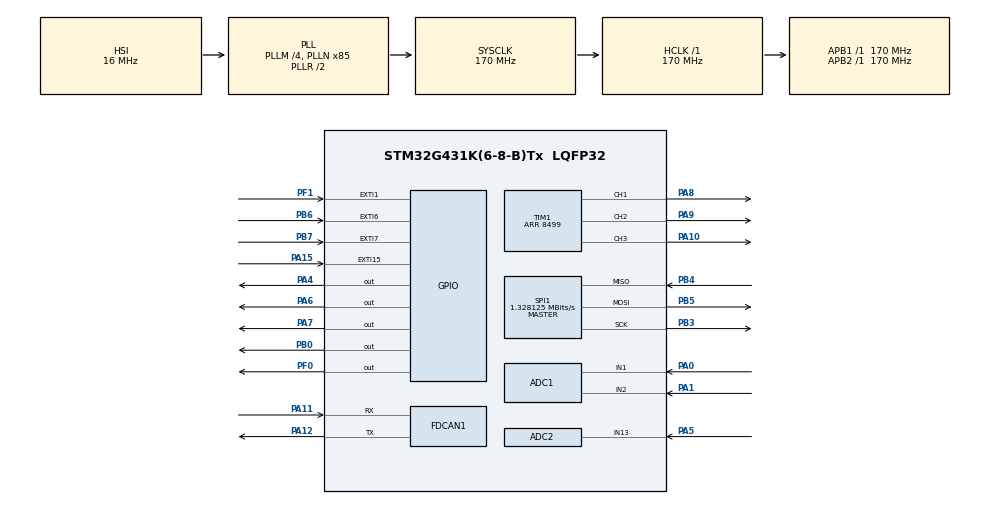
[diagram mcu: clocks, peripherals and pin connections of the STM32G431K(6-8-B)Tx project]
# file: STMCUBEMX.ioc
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ADC1.Channel-0\#ChannelRegularConversion=ADC_CHANNEL_1
ADC1.Channel-1\#ChannelRegularConversion=ADC_CHANNEL_2
ADC1.NbrOfConversion=2
ADC1.NbrOfConversionFlag=1
ADC1.OffsetNumber-0\#ChannelRegularConversion=ADC_OFFSET_NONE
ADC1.OffsetNumber-1\#ChannelRegularConversion=ADC_OFFSET_NONE
ADC1.Rank-0\#ChannelRegularConversion=1
ADC1.Rank-1\#ChannelRegularConversion=2
ADC1.SamplingTime-0\#ChannelRegularConversion=ADC_SAMPLETIME_2CYCLES_5
ADC1.SamplingTime-1\#ChannelRegularConversion=ADC_SAMPLETIME_2CYCLES_5
ADC1.master=1
ADC2.Channel-2\#ChannelRegularConversion=ADC_CHANNEL_13
ADC2.NbrOfConversionFlag=1
ADC2.OffsetNumber-2\#ChannelRegularConversion=ADC_OFFSET_NONE
ADC2.Rank-2\#ChannelRegularConversion=1
ADC2.SamplingTime-2\#ChannelRegularConversion=ADC_SAMPLETIME_92CYCLES_5
FDCAN1.CalculateBaudRateNominal=3541666
FDCAN1.CalculateTimeBitNominal=282
FDCAN1.CalculateTimeQuantumNominal=94.11764705882354
Mcu.Family=STM32G4
Mcu.Name=STM32G431K(6-8-B)Tx
Mcu.Package=LQFP32
NUCLEO-G431KB.LD2=true
NUCLEO-G431KB.VCP=true
NVIC.EXTI15_10_IRQn=true\:0\:0\:false\:false\:true\:true\:true\:true
NVIC.EXTI9_5_IRQn=true\:0\:0\:false\:false\:true\:true\:true\:true
NVIC.PriorityGroup=NVIC_PRIORITYGROUP_4
PA0.Mode=IN1-Single-Ended
PA0.Signal=ADC1_IN1
PA1.Mode=IN2-Single-Ended
PA1.Signal=ADC1_IN2
PA10.Signal=S_TIM1_CH3
PA11.Mode=FDCAN_Activate
PA11.Signal=FDCAN1_RX
PA12.Mode=FDCAN_Activate
PA12.Signal=FDCAN1_TX
PA13.GPIO_Label=T_SWDIO
PA13.Mode=Serial_Wire
PA13.Signal=SYS_JTMS-SWDIO
PA14.GPIO_Label=T_SWCLK
PA14.Mode=Serial_Wire
PA14.Signal=SYS_JTCK-SWCLK
PA15.GPIO_ModeDefaultEXTI=GPIO_MODE_IT_RISING_FALLING
PA15.Signal=GPXTI15
PA2.Signal=USART2_TX
PA3.Signal=USART2_RX
PA4.Signal=GPIO_Output
PA5.Mode=IN13-Single-Ended
PA5.Signal=ADC2_IN13
PA6.Signal=GPIO_Output
PA7.Signal=GPIO_Output
PA8.Signal=S_TIM1_CH1
PA9.Signal=S_TIM1_CH2
PB0.Signal=GPIO_Output
PB3.Mode=Full_Duplex_Master
PB3.Signal=SPI1_SCK
PB4.Mode=Full_Duplex_Master
PB4.Signal=SPI1_MISO
PB5.Mode=Full_Duplex_Master
PB5.Signal=SPI1_MOSI
PB6.GPIO_ModeDefaultEXTI=GPIO_MODE_IT_RISING_FALLING
PB6.Signal=GPXTI6
PB7.GPIO_ModeDefaultEXTI=GPIO_MODE_IT_RISING_FALLING
PB7.Signal=GPXTI7
PF0-OSC_IN.Signal=GPIO_Output
PF1-OSC_OUT.GPIO_ModeDefaultEXTI=GPIO_MODE_IT_FALLING
PF1-OSC_OUT.Signal=GPXTI1
ProjectManager.HeapSize=0x200
ProjectManager.StackSize=0x400
ProjectManager.TargetToolchain=STM32CubeIDE
RCC.ADC12Freq_Value=170000000
RCC.AHBFreq_Value=170000000
RCC.APB1Freq_Value=170000000
RCC.APB1TimFreq_Value=170000000
RCC.APB2Freq_Value=170000000
RCC.APB2TimFreq_Value=170000000
RCC.CortexFreq_Value=170000000
RCC.EXTERNAL_CLOCK_VALUE=12288000
RCC.HCLKFreq_Value=170000000
RCC.HSE_VALUE=8000000
RCC.HSI48_VALUE=48000000
RCC.HSI_VALUE=16000000
RCC.LSE_VALUE=32768
RCC.PLLM=RCC_PLLM_DIV4
RCC.PLLN=85
RCC.SYSCLKFreq_VALUE=170000000
RCC.SYSCLKSource=RCC_SYSCLKSOURCE_PLLCLK
RCC.USBFreq_Value=170000000
RCC.VCOOutputFreq_Value=340000000
SH.S_TIM1_CH1.0=TIM1_CH1,PWM Generation1 CH1
SH.S_TIM1_CH2.0=TIM1_CH2,PWM Generation2 CH2
SH.S_TIM1_CH3.0=TIM1_CH3,PWM Generation3 CH3
SPI1.BaudRatePrescaler=SPI_BAUDRATEPRESCALER_128
SPI1.CLKPhase=SPI_PHASE_2EDGE
SPI1.CalculateBaudRate=1.328125 MBits/s
SPI1.DataSize=SPI_DATASIZE_16BIT
SPI1.Direction=SPI_DIRECTION_2LINES
SPI1.Mode=SPI_MODE_MASTER
SPI1.VirtualType=VM_MASTER
TIM1.Channel-PWM\ Generation1\ CH1=TIM_CHANNEL_1
TIM1.Channel-PWM\ Generation2\ CH2=TIM_CHANNEL_2
TIM1.Channel-PWM\ Generation3\ CH3=TIM_CHANNEL_3
TIM1.PeriodNoDither=8499
TIM2.Prescaler=169
VP_NUCLEO-G431KB_VS_BSP_COMMON.Mode=COMMON
VP_SYS_VS_DBSignals.Mode=DisableDeadBatterySignals
VP_TIM1_VS_ClockSourceINT.Mode=Internal
VP_TIM2_VS_ClockSourceINT.Mode=Internal
board=NUCLEO-G431KB

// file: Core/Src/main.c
/* USER CODE BEGIN Header */
/**
  ******************************************************************************
  * @file           : main.c
  * @brief          : Main program body
  ******************************************************************************
  * @attention
  *
  * Copyright (c) 2026 STMicroelectronics.
  * All rights reserved.
  *
  * This software is licensed under terms that can be found in the LICENSE file
  * in the root directory of this software component.
  * If no LICENSE file comes with this software, it is provided AS-IS.
  *
  ******************************************************************************
  */
/* USER CODE END Header */
#include "main.h"

/* USER CODE BEGIN PD */
/* ===== Motor-control configuration ======================================= */
#define MOTOR_PWM_ARR              11332U      /* 170 MHz / (8499 + 1) = 20 kHz */
#define MOTOR_START_DUTY_PERCENT   0U

#define PEDAL_RAW_IDLE       4095U  // 3.036 V with a 3.3-V ADC reference
#define PEDAL_RAW_FULL        532U  // 0.429 V
#define PEDAL_DEADBAND_RAW     40U
#define PEDAL_MAX_DUTY         90U

/* DRV8353RS control pins */
#define DRV_NCS_PORT       GPIOA
#define DRV_NCS_PIN        GPIO_PIN_4
#define DRV_ENABLE_PORT    GPIOA
#define DRV_ENABLE_PIN     GPIO_PIN_6
#define DRV_NFAULT_PORT    GPIOF
#define DRV_NFAULT_PIN     GPIO_PIN_1

/* 3x-PWM inputs: INHx are TIM1 PWM outputs */
/* INHA = PA8 / TIM1_CH1
 * INHB = PA9 / TIM1_CH2
 * INHC = PA10 / TIM1_CH3
 */

/* 3x-PWM phase enables / Hi-Z controls: INLx MUST be GPIO outputs */
#define DRV_INLA_PORT      GPIOA
#define DRV_INLA_PIN       GPIO_PIN_7
#define DRV_INLB_PORT      GPIOB
#define DRV_INLB_PIN       GPIO_PIN_0
#define DRV_INLC_PORT      GPIOF
#define DRV_INLC_PIN       GPIO_PIN_0

#define PHASE_FLOAT   0U
#define PHASE_LOW     1U
#define PHASE_PWM     2U

/* Hall inputs */
#define HALL_H1_PORT       GPIOB
#define HALL_H1_PIN        GPIO_PIN_6
#define HALL_H2_PORT       GPIOA
#define HALL_H2_PIN        GPIO_PIN_15
#define HALL_H3_PORT       GPIOB
#define HALL_H3_PIN        GPIO_PIN_7

/* DRV8353 register addresses */
#define DRV_REG_FAULT1     0x00U
#define DRV_REG_VGS2       0x01U
#define DRV_REG_CTRL       0x02U
#define DRV_REG_GATE_HS    0x03U
#define DRV_REG_GATE_LS    0x04U

/* Driver Control register: PWM_MODE[6:5] = 01b => 3x PWM */
#define DRV_CTRL_3X_PWM    0x0020U
/* USER CODE END PD */

COM_InitTypeDef BspCOMInit;

ADC_HandleTypeDef hadc1;
ADC_HandleTypeDef hadc2;

FDCAN_HandleTypeDef hfdcan1;

SPI_HandleTypeDef hspi1;

TIM_HandleTypeDef htim1;
TIM_HandleTypeDef htim2;

/* USER CODE BEGIN PV */
volatile uint8_t  motor_enabled = 0U;
volatile uint8_t  motor_fault_latched = 0U;
volatile uint8_t  hall_state = 0U;
volatile uint8_t  drv_spi_ok = 0U;
volatile uint16_t drv_fault1 = 0U;
volatile uint16_t drv_fault2 = 0U;
volatile uint16_t drv_ctrl_readback = 0U;
volatile uint16_t drv_gate_hs_readback = 0U;
volatile uint16_t drv_gate_ls_readback = 0U;

volatile uint8_t phase_a_cmd = PHASE_FLOAT;
volatile uint8_t phase_b_cmd = PHASE_FLOAT;
volatile uint8_t phase_c_cmd = PHASE_FLOAT;

// For hall_state debugging
volatile uint32_t hall1_irq_count = 0;
volatile uint32_t hall2_irq_count = 0;
volatile uint32_t hall3_irq_count = 0;

volatile uint16_t last_exti_pin = 0;

volatile uint32_t adc1_raw = 0;
volatile uint32_t adc2_raw = 0;

#define CSA_AMPS_PER_COUNT  (3.3f / 4095.0f / (10.0f * 0.005f))
volatile float adc1_zero = 2048.0f;
volatile float adc2_zero = 2048.0f;
volatile float phase_a_amps = 0.0f;
volatile float phase_b_amps = 0.0f;
volatile float motor_amps = 0.0f;
volatile float input_amps = 0.0f;

volatile float adc1_voltage = 0.0f;
volatile float adc2_voltage = 0.0f;

volatile uint32_t adc1_min = 4095;
volatile uint32_t adc1_max = 0;
volatile uint32_t adc2_min = 4095;
volatile uint32_t adc2_max = 0;

static uint32_t motor_pwm_compare = 0U;

// For CAN bus RPM data
#define MOTOR_POLE_PAIRS       23U
#define HALL_EDGES_PER_REV     (6U * MOTOR_POLE_PAIRS)  // 138

volatile uint32_t hall_period_us = 0;
volatile uint32_t last_hall_time_us = 0;
volatile uint32_t last_hall_tick_ms = 0;

volatile uint32_t pedal_raw = 0U;
volatile float pedal_voltage = 0.0f;
volatile uint8_t pedal_duty = 0U;

/* 0 = none, 1 = driver nFAULT, 2 = pedal out of range */
volatile uint8_t stop_reason = 0U;
/* USER CODE END PV */

void SystemClock_Config(void);
static void MX_GPIO_Init(void);
static void MX_ADC1_Init(void);
static void MX_ADC2_Init(void);
static void MX_FDCAN1_Init(void);
static void MX_TIM1_Init(void);
static void MX_SPI1_Init(void);
static void MX_TIM2_Init(void);
/* USER CODE BEGIN PFP */

static uint16_t Motor_GetRPM(void);
static HAL_StatusTypeDef CAN_SendRPM(uint16_t rpm);
static void Motor_UpdateThrottle(uint8_t duty_percent);
static void MotorControl_ConfigureLowSideGPIO(void);
static void Motor_AllOff(void);
static uint8_t Motor_ReadHallState(void);
static void Motor_SetDutyPercent(uint8_t duty_percent);
static void Motor_Commutate(uint8_t hall);
static void Motor_Start(void);
static void Motor_Stop(void);

volatile uint16_t drv_pre_ctrl = 0;
volatile uint16_t drv_pre_hs   = 0;
volatile uint16_t drv_pre_ls   = 0;

volatile uint8_t hall_debug = 0U;

static uint16_t DRV8353_Transfer16(uint16_t tx_word);
static void DRV8353_WriteReg(uint8_t address, uint16_t data);
static uint16_t DRV8353_ReadReg(uint8_t address);
static uint8_t DRV8353_Init3xPWM(void);
/* USER CODE END PFP */

/* USER CODE BEGIN 0 */
/* ------------------------------------------------------------------------- */
/* DRV8353 SPI helpers                                                       */
/* ------------------------------------------------------------------------- */

static void Motor_UpdateThrottle(uint8_t duty_percent)
{
    Motor_SetDutyPercent(duty_percent);

    /* Immediately update whichever phase is currently PWM-driven. */
    if (motor_enabled != 0U)
    {
        if (phase_a_cmd == PHASE_PWM)
        {
            __HAL_TIM_SET_COMPARE(&htim1, TIM_CHANNEL_1, motor_pwm_compare);
        }

        if (phase_b_cmd == PHASE_PWM)
        {
            __HAL_TIM_SET_COMPARE(&htim1, TIM_CHANNEL_2, motor_pwm_compare);
        }

        if (phase_c_cmd == PHASE_PWM)
        {
            __HAL_TIM_SET_COMPARE(&htim1, TIM_CHANNEL_3, motor_pwm_compare);
        }
    }
}

static uint8_t Pedal_ToDuty(uint16_t raw)
{
    const uint32_t active_start = PEDAL_RAW_IDLE - PEDAL_DEADBAND_RAW;
    const uint32_t span = active_start - PEDAL_RAW_FULL;

    /* Pedal voltage falls as it is pressed. */
    if (raw >= active_start)
    {
        return 0U;
    }

    if (raw <= PEDAL_RAW_FULL)
    {
        return PEDAL_MAX_DUTY;
    }

    return (uint8_t)(((active_start - raw) * PEDAL_MAX_DUTY + (span / 2U)) / span);
}

static void DRV8353_CS_HighDelay(void)
{
    /* DRV8353 requires nSCS high for at least 400 ns between words.
       At 170 MHz this loop is comfortably longer than that. */
    for (volatile uint32_t i = 0U; i < 100U; i++)
    {
        __NOP();
    }
}

static uint16_t DRV8353_Transfer16(uint16_t tx_word)
{
    uint16_t rx_word = 0U;

    HAL_GPIO_WritePin(DRV_NCS_PORT, DRV_NCS_PIN, GPIO_PIN_RESET);

    if (HAL_SPI_TransmitReceive(&hspi1,
                                (uint8_t *)&tx_word,
                                (uint8_t *)&rx_word,
                                1U,
                                100U) != HAL_OK)
    {
        HAL_GPIO_WritePin(DRV_NCS_PORT, DRV_NCS_PIN, GPIO_PIN_SET);
        return 0xFFFFU;
    }

    HAL_GPIO_WritePin(DRV_NCS_PORT, DRV_NCS_PIN, GPIO_PIN_SET);
    DRV8353_CS_HighDelay();

    return rx_word;
}

static void DRV8353_WriteReg(uint8_t address, uint16_t data)
{
    /* B15 = 0 (write), B14:B11 = address, B10:B0 = data */
    uint16_t word = (((uint16_t)address & 0x0FU) << 11) |
                    (data & 0x07FFU);
    (void)DRV8353_Transfer16(word);
}

static uint16_t DRV8353_ReadReg(uint8_t address)
{
    /* B15 = 1 (read), B14:B11 = address */
    uint16_t word = 0x8000U |
                    (((uint16_t)address & 0x0FU) << 11);
    return DRV8353_Transfer16(word) & 0x07FFU;
}

/* ------------------------------------------------------------------------- */
/* Motor phase / Hall helpers                                                */
/* ------------------------------------------------------------------------- */

static void MotorControl_ConfigureLowSideGPIO(void)
{
    /* Defensive runtime configuration.
       In CubeMX, PA7/PB0/PF0 should ALSO be configured as GPIO_Output,
       not TIM1_CH1N/CH2N/CH3N. */
    GPIO_InitTypeDef gpio = {0};

    gpio.Mode = GPIO_MODE_OUTPUT_PP;
    gpio.Pull = GPIO_NOPULL;
    gpio.Speed = GPIO_SPEED_FREQ_LOW;

    gpio.Pin = DRV_INLA_PIN;
    HAL_GPIO_Init(DRV_INLA_PORT, &gpio);

    gpio.Pin = DRV_INLB_PIN;
    HAL_GPIO_Init(DRV_INLB_PORT, &gpio);

    gpio.Pin = DRV_INLC_PIN;
    HAL_GPIO_Init(DRV_INLC_PORT, &gpio);

    HAL_GPIO_WritePin(DRV_INLA_PORT, DRV_INLA_PIN, GPIO_PIN_RESET);
    HAL_GPIO_WritePin(DRV_INLB_PORT, DRV_INLB_PIN, GPIO_PIN_RESET);
    HAL_GPIO_WritePin(DRV_INLC_PORT, DRV_INLC_PIN, GPIO_PIN_RESET);
}

static void Motor_AllOff(void)
{
    /* INLx = 0 forces that half-bridge to Hi-Z in DRV8353 3x-PWM mode. */
    __HAL_TIM_SET_COMPARE(&htim1, TIM_CHANNEL_1, 0U);
    __HAL_TIM_SET_COMPARE(&htim1, TIM_CHANNEL_2, 0U);
    __HAL_TIM_SET_COMPARE(&htim1, TIM_CHANNEL_3, 0U);

    HAL_GPIO_WritePin(DRV_INLA_PORT, DRV_INLA_PIN, GPIO_PIN_RESET);
    HAL_GPIO_WritePin(DRV_INLB_PORT, DRV_INLB_PIN, GPIO_PIN_RESET);
    HAL_GPIO_WritePin(DRV_INLC_PORT, DRV_INLC_PIN, GPIO_PIN_RESET);

    phase_a_cmd = PHASE_FLOAT;
    phase_b_cmd = PHASE_FLOAT;
    phase_c_cmd = PHASE_FLOAT;

}

static uint8_t Motor_ReadHallState(void)
{
    uint8_t h1 = (HAL_GPIO_ReadPin(HALL_H1_PORT, HALL_H1_PIN) == GPIO_PIN_SET) ? 1U : 0U;
    uint8_t h2 = (HAL_GPIO_ReadPin(HALL_H2_PORT, HALL_H2_PIN) == GPIO_PIN_SET) ? 1U : 0U;
    uint8_t h3 = (HAL_GPIO_ReadPin(HALL_H3_PORT, HALL_H3_PIN) == GPIO_PIN_SET) ? 1U : 0U;

    return (uint8_t)((h1 << 2) | (h2 << 1) | h3);
}

static void Motor_SetDutyPercent(uint8_t duty_percent)
{
    if (duty_percent > 100U)
    {
        duty_percent = 100U;
    }

    /* Use actual TIM1 ARR so this stays correct if ARR is later changed. */
    uint32_t arr = __HAL_TIM_GET_AUTORELOAD(&htim1);
    motor_pwm_compare = ((arr + 1U) * (uint32_t)duty_percent) / 100U;

    if (motor_pwm_compare > arr)
    {
        motor_pwm_compare = arr;
    }
}

static uint16_t Motor_GetRPM(void)
{
    uint32_t period_us;
    uint32_t last_edge_ms;

    /*
     * Copy interrupt-controlled variables into local variables.
     * Prevents the interrupt from changing them while being read.
     */
    uint32_t interrupt_state = __get_PRIMASK();
    __disable_irq();

    period_us = hall_period_us;
    last_edge_ms = last_hall_tick_ms;

    if (!interrupt_state)
    {
        __enable_irq();
    }

    /* No valid reading yet or motor has stopped. */
    if (period_us == 0U ||
        (HAL_GetTick() - last_edge_ms) > 500U)
    {
        return 0U;
    }

    /*
     * RPM = 60,000,000 /
     *       (138 Hall edges/revolution × period in microseconds)
     */
    uint32_t rpm =
        60000000UL /
        (HALL_EDGES_PER_REV * period_us);

    if (rpm > 65535U)
    {
        rpm = 65535U;
    }

    return (uint16_t)rpm;
}

static HAL_StatusTypeDef CAN_SendRPM(uint16_t rpm)
{
    FDCAN_TxHeaderTypeDef header = {0};
    uint8_t data[8] = {0};

    header.Identifier           = 0x203;
    header.IdType              = FDCAN_STANDARD_ID;
    header.TxFrameType         = FDCAN_DATA_FRAME;
    header.DataLength          = FDCAN_DLC_BYTES_2;
    header.ErrorStateIndicator = FDCAN_ESI_ACTIVE;
    header.BitRateSwitch       = FDCAN_BRS_OFF;
    header.FDFormat            = FDCAN_CLASSIC_CAN;
    header.TxEventFifoControl  = FDCAN_NO_TX_EVENTS;
    header.MessageMarker       = 0;

    /* Send RPM as an unsigned 16-bit big-endian value. */
    data[0] = (uint8_t)(rpm >> 8);
    data[1] = (uint8_t)(rpm & 0xFFU);

    if (HAL_FDCAN_GetTxFifoFreeLevel(&hfdcan1) == 0U)
    {
        return HAL_BUSY;
    }

    return HAL_FDCAN_AddMessageToTxFifoQ(
        &hfdcan1,
        &header,
        data
    );

}

/* Hall order seen turning the wheel forward */
static const uint8_t hall_seq[6] = {6U, 4U, 5U, 1U, 3U, 2U};
volatile uint8_t comm_offset = 1U;   /* try 0 to 5 */

static void Motor_Commutate(uint8_t hall)
{
    if ((motor_enabled == 0U) || (motor_fault_latched != 0U))
    {
        Motor_AllOff();
        return;
    }

    hall_state = hall;

    /* Break-before-make: first float all three phases. */
    Motor_AllOff();

    /* Find this Hall value's position, then apply the offset. */
    uint8_t step = 0xFFU;
    for (uint8_t i = 0U; i < 6U; i++)
    {
        if (hall_seq[i] == hall)
        {
            step = (uint8_t)((i + comm_offset) % 6U);
            break;
        }
    }

    switch (step)
    {
    case 0U: /* A+ / B- / C float */
        __HAL_TIM_SET_COMPARE(&htim1, TIM_CHANNEL_1, motor_pwm_compare);
        HAL_GPIO_WritePin(DRV_INLA_PORT, DRV_INLA_PIN, GPIO_PIN_SET);
        HAL_GPIO_WritePin(DRV_INLB_PORT, DRV_INLB_PIN, GPIO_PIN_SET);
        phase_a_cmd = PHASE_PWM;
        phase_b_cmd = PHASE_LOW;
        phase_c_cmd = PHASE_FLOAT;
        break;

    case 1U: /* A+ / C- / B float */
        __HAL_TIM_SET_COMPARE(&htim1, TIM_CHANNEL_1, motor_pwm_compare);
        HAL_GPIO_WritePin(DRV_INLA_PORT, DRV_INLA_PIN, GPIO_PIN_SET);
        HAL_GPIO_WritePin(DRV_INLC_PORT, DRV_INLC_PIN, GPIO_PIN_SET);
        phase_a_cmd = PHASE_PWM;
        phase_b_cmd = PHASE_FLOAT;
        phase_c_cmd = PHASE_LOW;
        break;

    case 2U: /* B+ / C- / A float */
        __HAL_TIM_SET_COMPARE(&htim1, TIM_CHANNEL_2, motor_pwm_compare);
        HAL_GPIO_WritePin(DRV_INLB_PORT, DRV_INLB_PIN, GPIO_PIN_SET);
        HAL_GPIO_WritePin(DRV_INLC_PORT, DRV_INLC_PIN, GPIO_PIN_SET);
        phase_a_cmd = PHASE_FLOAT;
        phase_b_cmd = PHASE_PWM;
        phase_c_cmd = PHASE_LOW;
        break;

    case 3U: /* B+ / A- / C float */
        __HAL_TIM_SET_COMPARE(&htim1, TIM_CHANNEL_2, motor_pwm_compare);
        HAL_GPIO_WritePin(DRV_INLA_PORT, DRV_INLA_PIN, GPIO_PIN_SET);
        HAL_GPIO_WritePin(DRV_INLB_PORT, DRV_INLB_PIN, GPIO_PIN_SET);
        phase_a_cmd = PHASE_LOW;
        phase_b_cmd = PHASE_PWM;
        phase_c_cmd = PHASE_FLOAT;
        break;

    case 4U: /* C+ / A- / B float */
        __HAL_TIM_SET_COMPARE(&htim1, TIM_CHANNEL_3, motor_pwm_compare);
        HAL_GPIO_WritePin(DRV_INLA_PORT, DRV_INLA_PIN, GPIO_PIN_SET);
        HAL_GPIO_WritePin(DRV_INLC_PORT, DRV_INLC_PIN, GPIO_PIN_SET);
        phase_a_cmd = PHASE_LOW;
        phase_b_cmd = PHASE_FLOAT;
        phase_c_cmd = PHASE_PWM;
        break;

    case 5U: /* C+ / B- / A float */
        __HAL_TIM_SET_COMPARE(&htim1, TIM_CHANNEL_3, motor_pwm_compare);
        HAL_GPIO_WritePin(DRV_INLB_PORT, DRV_INLB_PIN, GPIO_PIN_SET);
        HAL_GPIO_WritePin(DRV_INLC_PORT, DRV_INLC_PIN, GPIO_PIN_SET);
        phase_a_cmd = PHASE_FLOAT;
        phase_b_cmd = PHASE_LOW;
        phase_c_cmd = PHASE_PWM;
        break;

    default: /* 000 or 111 */
        Motor_AllOff();
        break;
    }
}

/* ------------------------------------------------------------------------- */
/* DRV8353 and motor startup                                                 */
/* ------------------------------------------------------------------------- */

static uint8_t DRV8353_Init3xPWM(void)
{
    Motor_AllOff();

    /* SPI chip-select must idle high. Keep driver asleep while establishing
       safe MCU output states. */
    HAL_GPIO_WritePin(DRV_NCS_PORT, DRV_NCS_PIN, GPIO_PIN_SET);
    HAL_GPIO_WritePin(DRV_ENABLE_PORT, DRV_ENABLE_PIN, GPIO_PIN_RESET);
    HAL_Delay(2U);

    /* Wake DRV8353. Datasheet specifies SPI ready within 1 ms after ENABLE. */
    HAL_GPIO_WritePin(DRV_ENABLE_PORT, DRV_ENABLE_PIN, GPIO_PIN_SET);
    HAL_Delay(5U);

    /* READ DEFAULT REGISTERS BEFORE WRITING ANYTHING */
    drv_pre_ctrl = DRV8353_ReadReg(DRV_REG_CTRL);
    drv_pre_hs   = DRV8353_ReadReg(DRV_REG_GATE_HS);
    drv_pre_ls   = DRV8353_ReadReg(DRV_REG_GATE_LS);

    HAL_GPIO_WritePin(DRV_ENABLE_PORT, DRV_ENABLE_PIN, GPIO_PIN_SET);
    HAL_Delay(5U);

    /* Configure moderate gate-drive current for initial bring-up:
       150 mA source / 300 mA sink. These values MUST ultimately be tuned for
       your MOSFET gate charge, gate resistance, bus voltage, and switching
       behavior on an oscilloscope.

       Reg 0x03: LOCK=011 (unlocked), IDRIVEP_HS=0011, IDRIVEN_HS=0011
       Reg 0x04: CBC=1, TDRIVE=11 (4 us), IDRIVEP_LS=0011, IDRIVEN_LS=0011
    */
    DRV8353_WriteReg(DRV_REG_GATE_HS, 0x0300U);
    DRV8353_WriteReg(DRV_REG_GATE_LS, 0x0700U);

    /* Reg 0x02: PWM_MODE[6:5] = 01b => 3x PWM. */
    DRV8353_WriteReg(DRV_REG_CTRL, DRV_CTRL_3X_PWM);
    DRV8353_WriteReg(0x06U, 0x0243U);

    /* Verify SPI communication and the selected PWM mode. */
    drv_ctrl_readback    = DRV8353_ReadReg(DRV_REG_CTRL);
    drv_gate_hs_readback = DRV8353_ReadReg(DRV_REG_GATE_HS);
    drv_gate_ls_readback = DRV8353_ReadReg(DRV_REG_GATE_LS);

    if ((drv_ctrl_readback & 0x0060U) != DRV_CTRL_3X_PWM)
    {
        drv_spi_ok = 0U;
        Motor_AllOff();
        return 0U;
    }

    drv_spi_ok = 1U;
    return 1U;
}

static void Motor_Start(void)
{
    if ((drv_spi_ok == 0U) ||
        (HAL_GPIO_ReadPin(DRV_NFAULT_PORT, DRV_NFAULT_PIN) == GPIO_PIN_RESET))
    {
        motor_enabled = 0U;
        Motor_AllOff();
        return;
    }

    Motor_SetDutyPercent(MOTOR_START_DUTY_PERCENT);

    /* Start only TIM1 CH1/CH2/CH3. In 3x-PWM mode CH1N/CH2N/CH3N are NOT used. */
    if (HAL_TIM_PWM_Start(&htim1, TIM_CHANNEL_1) != HAL_OK) Error_Handler();
    if (HAL_TIM_PWM_Start(&htim1, TIM_CHANNEL_2) != HAL_OK) Error_Handler();
    if (HAL_TIM_PWM_Start(&htim1, TIM_CHANNEL_3) != HAL_OK) Error_Handler();

    motor_fault_latched = 0U;
    motor_enabled = 1U;

    /* Critical startup step: commutate immediately from the PRESENT Hall state.
       Do not wait for the first Hall edge, because the rotor is stationary. */
    Motor_Commutate(Motor_ReadHallState());
}

static void Motor_Stop(void)
{
    motor_enabled = 0U;
    Motor_AllOff();
}

volatile uint8_t phase_test = 0U;   /* 0 = off, 1 to 6 = test */

static void Phase_TestRun(void)
{
    static uint8_t last = 0U;
    if (phase_test == last) return;
    last = phase_test;

    motor_enabled = 0U;
    Motor_AllOff();
    uint32_t full = __HAL_TIM_GET_AUTORELOAD(&htim1) + 1U;

    switch (phase_test)
    {
    case 1U: __HAL_TIM_SET_COMPARE(&htim1, TIM_CHANNEL_1, full); /* fall through */
    case 2U: HAL_GPIO_WritePin(DRV_INLA_PORT, DRV_INLA_PIN, GPIO_PIN_SET); break;
    case 3U: __HAL_TIM_SET_COMPARE(&htim1, TIM_CHANNEL_2, full); /* fall through */
    case 4U: HAL_GPIO_WritePin(DRV_INLB_PORT, DRV_INLB_PIN, GPIO_PIN_SET); break;
    case 5U: __HAL_TIM_SET_COMPARE(&htim1, TIM_CHANNEL_3, full); /* fall through */
    case 6U: HAL_GPIO_WritePin(DRV_INLC_PORT, DRV_INLC_PIN, GPIO_PIN_SET); break;
    default: break;
    }
}

static void CSA_Calibrate(void)
{
    uint32_t a = 0U, b = 0U;
    for (uint16_t i = 0U; i < 256U; i++)
    {
        HAL_Delay(1U);
        a += HAL_ADCEx_InjectedGetValue(&hadc1, ADC_INJECTED_RANK_1);
        b += HAL_ADCEx_InjectedGetValue(&hadc1, ADC_INJECTED_RANK_2);
    }
    adc1_zero = (float)a / 256.0f;
    adc2_zero = (float)b / 256.0f;
}

/* USER CODE END 0 */

int main(void)
{

  /* MCU Configuration--------------------------------------------------------*/

  /* Reset of all peripherals, Initializes the Flash interface and the Systick. */
  HAL_Init();

  /* Configure the system clock */
  SystemClock_Config();

  /* Initialize all configured peripherals */
  MX_GPIO_Init();
  MX_ADC1_Init();
  MX_ADC2_Init();
  MX_FDCAN1_Init();
  MX_TIM1_Init();
  MX_SPI1_Init();
  MX_TIM2_Init();

  /* USER CODE BEGIN 2 */

  if (HAL_TIM_Base_Start(&htim2) != HAL_OK)
  {
      Error_Handler();
  }

  if (HAL_FDCAN_Start(&hfdcan1) != HAL_OK)
  {
      Error_Handler();
  }
/* The CubeMX screenshot still assigns PA7/PB0/PF0 as TIM1_CHxN.
     For 3x PWM they should be GPIO outputs. This runtime override keeps them
     correct, but also fix the .ioc so future code generation matches. */
  MotorControl_ConfigureLowSideGPIO();

  /* Put nSCS in its inactive state before waking the driver. */
  HAL_GPIO_WritePin(DRV_NCS_PORT, DRV_NCS_PIN, GPIO_PIN_SET);

  HAL_ADCEx_Calibration_Start(&hadc1, ADC_SINGLE_ENDED);
  HAL_ADCEx_InjectedStart(&hadc1);
  HAL_TIM_Base_Start(&htim1);

  if (DRV8353_Init3xPWM() != 0U)
  {
      CSA_Calibrate();
      Motor_Start();
  }
  else
  {
      Motor_Stop();
  }
  /* USER CODE END 2 */

  /* Initialize leds */
  BSP_LED_Init(LED_GREEN);

  /* Initialize COM1 port (115200, 8 bits (7-bit data + 1 stop bit), no parity */
  BspCOMInit.BaudRate   = 115200;
  BspCOMInit.WordLength = COM_WORDLENGTH_8B;
  BspCOMInit.StopBits   = COM_STOPBITS_1;
  BspCOMInit.Parity     = COM_PARITY_NONE;
  BspCOMInit.HwFlowCtl  = COM_HWCONTROL_NONE;
  if (BSP_COM_Init(COM1, &BspCOMInit) != BSP_ERROR_NONE)
  {
    Error_Handler();
  }

  uint32_t last_rpm_tx_ms = 0U;

  /* Infinite loop */
  while (1)
  {

    /* USER CODE BEGIN 3 */
/* Safety backup: poll nFAULT in case EXTI1 is not enabled yet. */

	  Phase_TestRun();

	  if ((HAL_GetTick() - last_rpm_tx_ms) >= 20U)
	  {
	      last_rpm_tx_ms = HAL_GetTick();

	      uint16_t rpm = Motor_GetRPM();
	      (void)CAN_SendRPM(rpm);
	  }

	  hall_debug = Motor_ReadHallState();

    if ((HAL_GPIO_ReadPin(DRV_NFAULT_PORT, DRV_NFAULT_PIN) == GPIO_PIN_RESET) &&
        (motor_fault_latched == 0U))
    {
        stop_reason = 1U;
        motor_fault_latched = 1U;
        Motor_Stop();

        /* Capture the fault registers for inspection in the debugger. */
        drv_fault1 = DRV8353_ReadReg(DRV_REG_FAULT1);
        drv_fault2 = DRV8353_ReadReg(DRV_REG_VGS2);
    }

	  if ((motor_enabled != 0U) &&
	      (motor_fault_latched == 0U) &&
	      (hall_debug >= 1U) &&
	      (hall_debug <= 6U) &&
	      (phase_a_cmd == PHASE_FLOAT) &&
	      (phase_b_cmd == PHASE_FLOAT) &&
	      (phase_c_cmd == PHASE_FLOAT))
	  {
	      Motor_Commutate(hall_debug);
	  }

	    /* Latest off-time samples, taken automatically by TIM1 */
	    adc1_raw = HAL_ADCEx_InjectedGetValue(&hadc1, ADC_INJECTED_RANK_1);
	    adc2_raw = HAL_ADCEx_InjectedGetValue(&hadc1, ADC_INJECTED_RANK_2);
	    phase_a_amps = ((float)adc1_raw - adc1_zero) * CSA_AMPS_PER_COUNT;
	    phase_b_amps = ((float)adc2_raw - adc2_zero) * CSA_AMPS_PER_COUNT;

	    /* Source phase reads negative, sink reads positive while motoring */
	    if (phase_a_cmd != PHASE_FLOAT)
	        motor_amps = (phase_a_cmd == PHASE_PWM) ? -phase_a_amps : phase_a_amps;
	    else
	        motor_amps = (phase_b_cmd == PHASE_PWM) ? -phase_b_amps : phase_b_amps;

	    input_amps = motor_amps * ((float)pedal_duty / 100.0f);

    adc1_voltage = ((float)adc1_raw * 3.3f) / 4095.0f;
    adc2_voltage = ((float)adc2_raw * 3.3f) / 4095.0f;

    if (adc1_raw < adc1_min)
        adc1_min = adc1_raw;

    if (adc1_raw > adc1_max)
        adc1_max = adc1_raw;

    if (adc2_raw < adc2_min)
        adc2_min = adc2_raw;

    if (adc2_raw > adc2_max)
        adc2_max = adc2_raw;
    HAL_ADC_Start(&hadc2);

    if (HAL_ADC_PollForConversion(&hadc2, 10U) == HAL_OK)
    {
        pedal_raw = HAL_ADC_GetValue(&hadc2);
        pedal_voltage = ((float)pedal_raw * 3.3f) / 4095.0f;
        pedal_duty = Pedal_ToDuty((uint16_t)pedal_raw);

        if ((pedal_raw < 350U) || (pedal_raw > 4095U))
        {
            stop_reason = 2U;
            motor_fault_latched = 1U;
            Motor_Stop();
        }
        else
        {
            Motor_UpdateThrottle(pedal_duty);
        }
    }

    HAL_ADC_Stop(&hadc2);

    HAL_Delay(10);
  }
  /* USER CODE END 3 */
}

void SystemClock_Config(void)
{
  RCC_OscInitTypeDef RCC_OscInitStruct = {0};
  RCC_ClkInitTypeDef RCC_ClkInitStruct = {0};

  /** Configure the main internal regulator output voltage
  */
  HAL_PWREx_ControlVoltageScaling(PWR_REGULATOR_VOLTAGE_SCALE1_BOOST);

  /** Initializes the RCC Oscillators according to the specified parameters
  * in the RCC_OscInitTypeDef structure.
  */
  RCC_OscInitStruct.OscillatorType = RCC_OSCILLATORTYPE_HSI;
  RCC_OscInitStruct.HSIState = RCC_HSI_ON;
  RCC_OscInitStruct.HSICalibrationValue = RCC_HSICALIBRATION_DEFAULT;
  RCC_OscInitStruct.PLL.PLLState = RCC_PLL_ON;
  RCC_OscInitStruct.PLL.PLLSource = RCC_PLLSOURCE_HSI;
  RCC_OscInitStruct.PLL.PLLM = RCC_PLLM_DIV4;
  RCC_OscInitStruct.PLL.PLLN = 85;
  RCC_OscInitStruct.PLL.PLLP = RCC_PLLP_DIV2;
  RCC_OscInitStruct.PLL.PLLQ = RCC_PLLQ_DIV2;
  RCC_OscInitStruct.PLL.PLLR = RCC_PLLR_DIV2;
  if (HAL_RCC_OscConfig(&RCC_OscInitStruct) != HAL_OK)
  {
    Error_Handler();
  }

  /** Initializes the CPU, AHB and APB buses clocks
  */
  RCC_ClkInitStruct.ClockType = RCC_CLOCKTYPE_HCLK|RCC_CLOCKTYPE_SYSCLK
                              |RCC_CLOCKTYPE_PCLK1|RCC_CLOCKTYPE_PCLK2;
  RCC_ClkInitStruct.SYSCLKSource = RCC_SYSCLKSOURCE_PLLCLK;
  RCC_ClkInitStruct.AHBCLKDivider = RCC_SYSCLK_DIV1;
  RCC_ClkInitStruct.APB1CLKDivider = RCC_HCLK_DIV1;
  RCC_ClkInitStruct.APB2CLKDivider = RCC_HCLK_DIV1;

  if (HAL_RCC_ClockConfig(&RCC_ClkInitStruct, FLASH_LATENCY_4) != HAL_OK)
  {
    Error_Handler();
  }
}

static void MX_ADC1_Init(void)
{

  ADC_MultiModeTypeDef multimode = {0};
  ADC_ChannelConfTypeDef sConfig = {0};

  /** Common config
  */
  hadc1.Instance = ADC1;
  hadc1.Init.ClockPrescaler = ADC_CLOCK_SYNC_PCLK_DIV4;
  hadc1.Init.Resolution = ADC_RESOLUTION_12B;
  hadc1.Init.DataAlign = ADC_DATAALIGN_RIGHT;
  hadc1.Init.GainCompensation = 0;
  hadc1.Init.ScanConvMode = ADC_SCAN_ENABLE;
  hadc1.Init.EOCSelection = ADC_EOC_SINGLE_CONV;
  hadc1.Init.LowPowerAutoWait = DISABLE;
  hadc1.Init.ContinuousConvMode = DISABLE;
  hadc1.Init.NbrOfConversion = 2;
  hadc1.Init.DiscontinuousConvMode = DISABLE;
  hadc1.Init.ExternalTrigConv = ADC_SOFTWARE_START;
  hadc1.Init.ExternalTrigConvEdge = ADC_EXTERNALTRIGCONVEDGE_NONE;
  hadc1.Init.DMAContinuousRequests = DISABLE;
  hadc1.Init.Overrun = ADC_OVR_DATA_PRESERVED;
  hadc1.Init.OversamplingMode = DISABLE;
  if (HAL_ADC_Init(&hadc1) != HAL_OK)
  {
    Error_Handler();
  }

  /** Configure the ADC multi-mode
  */
  multimode.Mode = ADC_MODE_INDEPENDENT;
  if (HAL_ADCEx_MultiModeConfigChannel(&hadc1, &multimode) != HAL_OK)
  {
    Error_Handler();
  }

  /** Configure Regular Channel
  */
  sConfig.Channel = ADC_CHANNEL_1;
  sConfig.Rank = ADC_REGULAR_RANK_1;
  sConfig.SamplingTime = ADC_SAMPLETIME_2CYCLES_5;
  sConfig.SingleDiff = ADC_SINGLE_ENDED;
  sConfig.OffsetNumber = ADC_OFFSET_NONE;
  sConfig.Offset = 0;
  if (HAL_ADC_ConfigChannel(&hadc1, &sConfig) != HAL_OK)
  {
    Error_Handler();
  }

  /** Configure Regular Channel
  */
  sConfig.Channel = ADC_CHANNEL_2;
  sConfig.Rank = ADC_REGULAR_RANK_2;
  if (HAL_ADC_ConfigChannel(&hadc1, &sConfig) != HAL_OK)
  {
    Error_Handler();
  }
  /* USER CODE BEGIN ADC1_Init 2 */

  ADC_InjectionConfTypeDef inj = {0};
  inj.InjectedChannel = ADC_CHANNEL_1;
  inj.InjectedRank = ADC_INJECTED_RANK_1;
  inj.InjectedSamplingTime = ADC_SAMPLETIME_12CYCLES_5;
  inj.InjectedSingleDiff = ADC_SINGLE_ENDED;
  inj.InjectedOffsetNumber = ADC_OFFSET_NONE;
  inj.InjectedNbrOfConversion = 2;
  inj.InjectedDiscontinuousConvMode = DISABLE;
  inj.AutoInjectedConv = DISABLE;
  inj.QueueInjectedContext = DISABLE;
  inj.ExternalTrigInjecConv = ADC_EXTERNALTRIGINJEC_T1_TRGO2;
  inj.ExternalTrigInjecConvEdge = ADC_EXTERNALTRIGINJECCONV_EDGE_RISING;
  inj.InjecOversamplingMode = DISABLE;
  if (HAL_ADCEx_InjectedConfigChannel(&hadc1, &inj) != HAL_OK) Error_Handler();
  inj.InjectedChannel = ADC_CHANNEL_2;
  inj.InjectedRank = ADC_INJECTED_RANK_2;
  if (HAL_ADCEx_InjectedConfigChannel(&hadc1, &inj) != HAL_OK) Error_Handler();

  /* USER CODE END ADC1_Init 2 */

}

static void MX_ADC2_Init(void)
{

  ADC_ChannelConfTypeDef sConfig = {0};

  /** Common config
  */
  hadc2.Instance = ADC2;
  hadc2.Init.ClockPrescaler = ADC_CLOCK_SYNC_PCLK_DIV4;
  hadc2.Init.Resolution = ADC_RESOLUTION_12B;
  hadc2.Init.DataAlign = ADC_DATAALIGN_RIGHT;
  hadc2.Init.GainCompensation = 0;
  hadc2.Init.ScanConvMode = ADC_SCAN_DISABLE;
  hadc2.Init.EOCSelection = ADC_EOC_SINGLE_CONV;
  hadc2.Init.LowPowerAutoWait = DISABLE;
  hadc2.Init.ContinuousConvMode = DISABLE;
  hadc2.Init.NbrOfConversion = 1;
  hadc2.Init.DiscontinuousConvMode = DISABLE;
  hadc2.Init.ExternalTrigConv = ADC_SOFTWARE_START;
  hadc2.Init.ExternalTrigConvEdge = ADC_EXTERNALTRIGCONVEDGE_NONE;
  hadc2.Init.DMAContinuousRequests = DISABLE;
  hadc2.Init.Overrun = ADC_OVR_DATA_PRESERVED;
  hadc2.Init.OversamplingMode = DISABLE;
  if (HAL_ADC_Init(&hadc2) != HAL_OK)
  {
    Error_Handler();
  }

  /** Configure Regular Channel
  */
  sConfig.Channel = ADC_CHANNEL_13;
  sConfig.Rank = ADC_REGULAR_RANK_1;
  sConfig.SamplingTime = ADC_SAMPLETIME_92CYCLES_5;
  sConfig.SingleDiff = ADC_SINGLE_ENDED;
  sConfig.OffsetNumber = ADC_OFFSET_NONE;
  sConfig.Offset = 0;
  if (HAL_ADC_ConfigChannel(&hadc2, &sConfig) != HAL_OK)
  {
    Error_Handler();
  }

}

static void MX_FDCAN1_Init(void)
{

  hfdcan1.Instance = FDCAN1;
  hfdcan1.Init.ClockDivider = FDCAN_CLOCK_DIV1;
  hfdcan1.Init.FrameFormat = FDCAN_FRAME_CLASSIC;
  hfdcan1.Init.Mode = FDCAN_MODE_NORMAL;
  hfdcan1.Init.AutoRetransmission = ENABLE;
  hfdcan1.Init.TransmitPause = DISABLE;
  hfdcan1.Init.ProtocolException = DISABLE;
  hfdcan1.Init.NominalPrescaler = 20;
  hfdcan1.Init.NominalSyncJumpWidth = 3;
  hfdcan1.Init.NominalTimeSeg1 = 13;
  hfdcan1.Init.NominalTimeSeg2 = 3;
  hfdcan1.Init.DataPrescaler = 1;
  hfdcan1.Init.DataSyncJumpWidth = 1;
  hfdcan1.Init.DataTimeSeg1 = 1;
  hfdcan1.Init.DataTimeSeg2 = 1;
  hfdcan1.Init.StdFiltersNbr = 0;
  hfdcan1.Init.ExtFiltersNbr = 0;
  hfdcan1.Init.TxFifoQueueMode = FDCAN_TX_FIFO_OPERATION;
  if (HAL_FDCAN_Init(&hfdcan1) != HAL_OK)
  {
    Error_Handler();
  }

}

static void MX_SPI1_Init(void)
{

  /* SPI1 parameter configuration*/
  hspi1.Instance = SPI1;
  hspi1.Init.Mode = SPI_MODE_MASTER;
  hspi1.Init.Direction = SPI_DIRECTION_2LINES;
  hspi1.Init.DataSize = SPI_DATASIZE_16BIT;
  hspi1.Init.CLKPolarity = SPI_POLARITY_LOW;
  hspi1.Init.CLKPhase = SPI_PHASE_2EDGE;
  hspi1.Init.NSS = SPI_NSS_SOFT;
  hspi1.Init.BaudRatePrescaler = SPI_BAUDRATEPRESCALER_128;
  hspi1.Init.FirstBit = SPI_FIRSTBIT_MSB;
  hspi1.Init.TIMode = SPI_TIMODE_DISABLE;
  hspi1.Init.CRCCalculation = SPI_CRCCALCULATION_DISABLE;
  hspi1.Init.CRCPolynomial = 7;
  hspi1.Init.CRCLength = SPI_CRC_LENGTH_DATASIZE;
  hspi1.Init.NSSPMode = SPI_NSS_PULSE_DISABLE;
  if (HAL_SPI_Init(&hspi1) != HAL_OK)
  {
    Error_Handler();
  }

}

static void MX_TIM1_Init(void)
{

  TIM_ClockConfigTypeDef sClockSourceConfig = {0};
  TIM_MasterConfigTypeDef sMasterConfig = {0};
  TIM_OC_InitTypeDef sConfigOC = {0};
  TIM_BreakDeadTimeConfigTypeDef sBreakDeadTimeConfig = {0};

  htim1.Instance = TIM1;
  htim1.Init.Prescaler = 0;
  htim1.Init.CounterMode = TIM_COUNTERMODE_UP;
  htim1.Init.Period = MOTOR_PWM_ARR;
  htim1.Init.ClockDivision = TIM_CLOCKDIVISION_DIV1;
  htim1.Init.RepetitionCounter = 0;
  htim1.Init.AutoReloadPreload = TIM_AUTORELOAD_PRELOAD_DISABLE;
  if (HAL_TIM_Base_Init(&htim1) != HAL_OK)
  {
    Error_Handler();
  }
  sClockSourceConfig.ClockSource = TIM_CLOCKSOURCE_INTERNAL;
  if (HAL_TIM_ConfigClockSource(&htim1, &sClockSourceConfig) != HAL_OK)
  {
    Error_Handler();
  }
  if (HAL_TIM_PWM_Init(&htim1) != HAL_OK)
  {
    Error_Handler();
  }
  sMasterConfig.MasterOutputTrigger = TIM_TRGO_RESET;
  sMasterConfig.MasterOutputTrigger2 = TIM_TRGO2_RESET;
  sMasterConfig.MasterSlaveMode = TIM_MASTERSLAVEMODE_DISABLE;
  if (HAL_TIMEx_MasterConfigSynchronization(&htim1, &sMasterConfig) != HAL_OK)
  {
    Error_Handler();
  }
  sConfigOC.OCMode = TIM_OCMODE_PWM1;
  sConfigOC.Pulse = 0;
  sConfigOC.OCPolarity = TIM_OCPOLARITY_HIGH;
  sConfigOC.OCNPolarity = TIM_OCNPOLARITY_HIGH;
  sConfigOC.OCFastMode = TIM_OCFAST_DISABLE;
  sConfigOC.OCIdleState = TIM_OCIDLESTATE_RESET;
  sConfigOC.OCNIdleState = TIM_OCNIDLESTATE_RESET;
  if (HAL_TIM_PWM_ConfigChannel(&htim1, &sConfigOC, TIM_CHANNEL_1) != HAL_OK)
  {
    Error_Handler();
  }
  if (HAL_TIM_PWM_ConfigChannel(&htim1, &sConfigOC, TIM_CHANNEL_2) != HAL_OK)
  {
    Error_Handler();
  }
  if (HAL_TIM_PWM_ConfigChannel(&htim1, &sConfigOC, TIM_CHANNEL_3) != HAL_OK)
  {
    Error_Handler();
  }
  sBreakDeadTimeConfig.OffStateRunMode = TIM_OSSR_DISABLE;
  sBreakDeadTimeConfig.OffStateIDLEMode = TIM_OSSI_DISABLE;
  sBreakDeadTimeConfig.LockLevel = TIM_LOCKLEVEL_OFF;
  sBreakDeadTimeConfig.DeadTime = 0;
  sBreakDeadTimeConfig.BreakState = TIM_BREAK_DISABLE;
  sBreakDeadTimeConfig.BreakPolarity = TIM_BREAKPOLARITY_HIGH;
  sBreakDeadTimeConfig.BreakFilter = 0;
  sBreakDeadTimeConfig.BreakAFMode = TIM_BREAK_AFMODE_INPUT;
  sBreakDeadTimeConfig.Break2State = TIM_BREAK2_DISABLE;
  sBreakDeadTimeConfig.Break2Polarity = TIM_BREAK2POLARITY_HIGH;
  sBreakDeadTimeConfig.Break2Filter = 0;
  sBreakDeadTimeConfig.Break2AFMode = TIM_BREAK_AFMODE_INPUT;
  sBreakDeadTimeConfig.AutomaticOutput = TIM_AUTOMATICOUTPUT_DISABLE;
  if (HAL_TIMEx_ConfigBreakDeadTime(&htim1, &sBreakDeadTimeConfig) != HAL_OK)
  {
    Error_Handler();
  }
  /* USER CODE BEGIN TIM1_Init 2 */

  sConfigOC.OCMode = TIM_OCMODE_PWM2;
  sConfigOC.Pulse = (MOTOR_PWM_ARR * 95U) / 100U;
  if (HAL_TIM_PWM_ConfigChannel(&htim1, &sConfigOC, TIM_CHANNEL_4) != HAL_OK) Error_Handler();
  sMasterConfig.MasterOutputTrigger2 = TIM_TRGO2_OC4REF;
  if (HAL_TIMEx_MasterConfigSynchronization(&htim1, &sMasterConfig) != HAL_OK) Error_Handler();

  /* USER CODE END TIM1_Init 2 */
  HAL_TIM_MspPostInit(&htim1);

}

static void MX_TIM2_Init(void)
{

  TIM_ClockConfigTypeDef sClockSourceConfig = {0};
  TIM_MasterConfigTypeDef sMasterConfig = {0};

  htim2.Instance = TIM2;
  htim2.Init.Prescaler = 169;
  htim2.Init.CounterMode = TIM_COUNTERMODE_UP;
  htim2.Init.Period = 4294967295;
  htim2.Init.ClockDivision = TIM_CLOCKDIVISION_DIV1;
  htim2.Init.AutoReloadPreload = TIM_AUTORELOAD_PRELOAD_DISABLE;
  if (HAL_TIM_Base_Init(&htim2) != HAL_OK)
  {
    Error_Handler();
  }
  sClockSourceConfig.ClockSource = TIM_CLOCKSOURCE_INTERNAL;
  if (HAL_TIM_ConfigClockSource(&htim2, &sClockSourceConfig) != HAL_OK)
  {
    Error_Handler();
  }
  sMasterConfig.MasterOutputTrigger = TIM_TRGO_RESET;
  sMasterConfig.MasterSlaveMode = TIM_MASTERSLAVEMODE_DISABLE;
  if (HAL_TIMEx_MasterConfigSynchronization(&htim2, &sMasterConfig) != HAL_OK)
  {
    Error_Handler();
  }

}

static void MX_GPIO_Init(void)
{
  GPIO_InitTypeDef GPIO_InitStruct = {0};

  /* GPIO Ports Clock Enable */
  __HAL_RCC_GPIOF_CLK_ENABLE();
  __HAL_RCC_GPIOA_CLK_ENABLE();
  __HAL_RCC_GPIOB_CLK_ENABLE();

  /*Configure GPIO pin Output Level */
  HAL_GPIO_WritePin(GPIOF, GPIO_PIN_0, GPIO_PIN_RESET);

  /*Configure GPIO pin Output Level */
  HAL_GPIO_WritePin(GPIOA, GPIO_PIN_4|GPIO_PIN_6|GPIO_PIN_7, GPIO_PIN_RESET);

  /*Configure GPIO pin Output Level */
  HAL_GPIO_WritePin(GPIOB, GPIO_PIN_0, GPIO_PIN_RESET);

  /*Configure GPIO pin : PF0 */
  GPIO_InitStruct.Pin = GPIO_PIN_0;
  GPIO_InitStruct.Mode = GPIO_MODE_OUTPUT_PP;
  GPIO_InitStruct.Pull = GPIO_NOPULL;
  GPIO_InitStruct.Speed = GPIO_SPEED_FREQ_LOW;
  HAL_GPIO_Init(GPIOF, &GPIO_InitStruct);

  /*Configure GPIO pin : PF1 */
  GPIO_InitStruct.Pin = GPIO_PIN_1;
  GPIO_InitStruct.Mode = GPIO_MODE_IT_FALLING;
  GPIO_InitStruct.Pull = GPIO_NOPULL;
  HAL_GPIO_Init(GPIOF, &GPIO_InitStruct);

  /*Configure GPIO pins : PA4 PA6 PA7 */
  GPIO_InitStruct.Pin = GPIO_PIN_4|GPIO_PIN_6|GPIO_PIN_7;
  GPIO_InitStruct.Mode = GPIO_MODE_OUTPUT_PP;
  GPIO_InitStruct.Pull = GPIO_NOPULL;
  GPIO_InitStruct.Speed = GPIO_SPEED_FREQ_LOW;
  HAL_GPIO_Init(GPIOA, &GPIO_InitStruct);

  /*Configure GPIO pin : PB0 */
  GPIO_InitStruct.Pin = GPIO_PIN_0;
  GPIO_InitStruct.Mode = GPIO_MODE_OUTPUT_PP;
  GPIO_InitStruct.Pull = GPIO_NOPULL;
  GPIO_InitStruct.Speed = GPIO_SPEED_FREQ_LOW;
  HAL_GPIO_Init(GPIOB, &GPIO_InitStruct);

  /*Configure GPIO pin : PA15 */
  GPIO_InitStruct.Pin = GPIO_PIN_15;
  GPIO_InitStruct.Mode = GPIO_MODE_IT_RISING_FALLING;
  GPIO_InitStruct.Pull = GPIO_NOPULL;
  HAL_GPIO_Init(GPIOA, &GPIO_InitStruct);

  /*Configure GPIO pins : PB6 PB7 */
  GPIO_InitStruct.Pin = GPIO_PIN_6|GPIO_PIN_7;
  GPIO_InitStruct.Mode = GPIO_MODE_IT_RISING_FALLING;
  GPIO_InitStruct.Pull = GPIO_NOPULL;
  HAL_GPIO_Init(GPIOB, &GPIO_InitStruct);

  /* EXTI interrupt init*/
  HAL_NVIC_SetPriority(EXTI9_5_IRQn, 0, 0);
  HAL_NVIC_EnableIRQ(EXTI9_5_IRQn);

  HAL_NVIC_SetPriority(EXTI15_10_IRQn, 0, 0);
  HAL_NVIC_EnableIRQ(EXTI15_10_IRQn);

}

/* USER CODE BEGIN 4 */
void HAL_GPIO_EXTI_Callback(uint16_t GPIO_Pin)
{
    last_exti_pin = GPIO_Pin;

    if (GPIO_Pin == DRV_NFAULT_PIN)
    {
    	stop_reason = 1U;
    	motor_fault_latched = 1U;
    	Motor_Stop();
        return;
    }

    if (GPIO_Pin == HALL_H1_PIN)
    {
        hall1_irq_count++;
    }

    if (GPIO_Pin == HALL_H2_PIN)
    {
        hall2_irq_count++;
    }

    if (GPIO_Pin == HALL_H3_PIN)
    {
        hall3_irq_count++;
    }

    if ((GPIO_Pin == HALL_H1_PIN) ||
        (GPIO_Pin == HALL_H2_PIN) ||
        (GPIO_Pin == HALL_H3_PIN))
    {
        uint8_t new_hall_state = Motor_ReadHallState();

        /* Record the time between valid Hall transitions for RPM. */
        if ((new_hall_state >= 1U) &&
            (new_hall_state <= 6U) &&
            (new_hall_state != hall_state))
        {
            uint32_t now_us = __HAL_TIM_GET_COUNTER(&htim2);

            if (last_hall_time_us != 0U)
            {
                hall_period_us = now_us - last_hall_time_us;
            }

            last_hall_time_us = now_us;
            last_hall_tick_ms = HAL_GetTick();
            hall_state = new_hall_state;
        }

        if ((motor_enabled != 0U) &&
            (motor_fault_latched == 0U))
        {
            Motor_Commutate(new_hall_state);
        }
    }
}
/* USER CODE END 4 */

/* USER CODE BEGIN Header */
/**
  ******************************************************************************
  * @file           : main.c
  * @brief          : Main program body
  ******************************************************************************
  * @attention
  *
  * Copyright (c) 2026 STMicroelectronics.
  * All rights reserved.
  *
  * This software is licensed under terms that can be found in the LICENSE file
  * in the root directory of this software component.
  * If no LICENSE file comes with this software, it is provided AS-IS.
  *
  ******************************************************************************
  */
/* USER CODE END Header */

void Error_Handler(void)
{
  __disable_irq();
  while (1)
  {
  }
}
